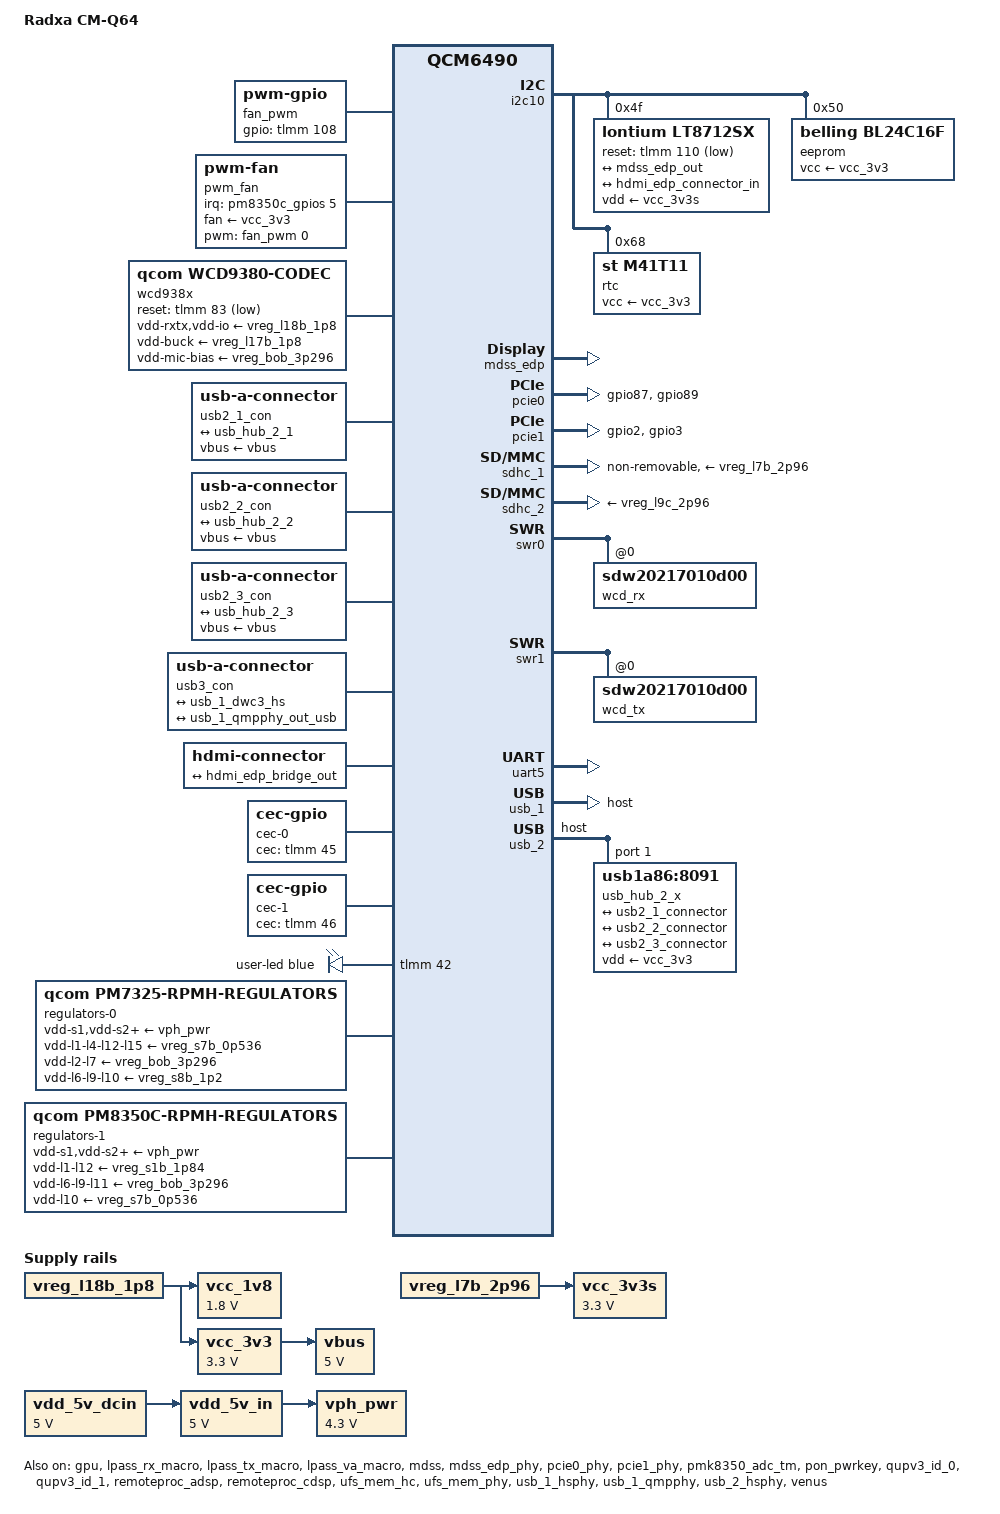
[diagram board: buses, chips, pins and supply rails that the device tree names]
// SPDX-License-Identifier: BSD-3-Clause
/*
 * Copyright (c) 2025 Radxa Computer (Shenzhen) Co., Ltd.
 */

#include <dt-bindings/iio/qcom,spmi-adc7-pmk8350.h>
#include <dt-bindings/iio/qcom,spmi-adc7-pm7325.h>
#include <dt-bindings/leds/common.h>
#include <dt-bindings/pinctrl/qcom,pmic-gpio.h>
#include <dt-bindings/pwm/pwm.h>
#include <dt-bindings/regulator/qcom,rpmh-regulator.h>
#include "kodiak.dtsi"
#include "pm7325.dtsi"
#include "pm8350c.dtsi" /* PM7350C */
#include "pmk8350.dtsi" /* PMK7325 */
#include "qcs6490-audioreach.dtsi"

/delete-node/ &adsp_mem;
/delete-node/ &adsp_rpc_remote_heap_mem;
/delete-node/ &cdsp_mem;
/delete-node/ &gpu_zap_mem;
/delete-node/ &ipa_fw_mem;
/delete-node/ &mpss_mem;
/delete-node/ &remoteproc_mpss;
/delete-node/ &remoteproc_wpss;
/delete-node/ &rmtfs_mem;
/delete-node/ &video_mem;
/delete-node/ &wifi;
/delete-node/ &wlan_ce_mem;
/delete-node/ &wlan_fw_mem;
/delete-node/ &wpss_mem;

/ {
	model = "Radxa CM-Q64";
	compatible = "radxa,cm-q64", "qcom,qcm6490";
	chassis-type = "embedded";

	aliases {
		mmc0 = &sdhc_1;
		mmc1 = &sdhc_2;
		serial0 = &uart5;
	};

	chosen {
		stdout-path = "serial0:115200n8";
	};

	fan_pwm: fan-pwm {
		compatible = "pwm-gpio";
		gpios = <&tlmm 108 GPIO_ACTIVE_HIGH>;
		pinctrl-0 = <&fan_pwm_cpu>;
		pinctrl-names = "default";
		#pwm-cells = <3>;
	};

	pwm_fan: pwm-fan {
		pinctrl-0 = <&fan_tacho>;
		pinctrl-names = "default";
		compatible = "pwm-fan";
		pwms = <&fan_pwm 0 20000 0>;
		fan-supply = <&vcc_3v3>;
		interrupt-parent = <&pm8350c_gpios>;
		interrupts = <5 IRQ_TYPE_EDGE_FALLING>;
		#cooling-cells = <2>;
		cooling-levels = <0 31 63 95 127 159 191 223 255>;
    };

	wcd938x: audio-codec {
		compatible = "qcom,wcd9380-codec";

		pinctrl-0 = <&wcd_default>;
		pinctrl-names = "default";

		reset-gpios = <&tlmm 83 GPIO_ACTIVE_LOW>;

		vdd-rxtx-supply = <&vreg_l18b_1p8>;
		vdd-io-supply = <&vreg_l18b_1p8>;
		vdd-buck-supply = <&vreg_l17b_1p8>;
		vdd-mic-bias-supply = <&vreg_bob_3p296>;

		qcom,micbias1-microvolt = <1800000>;
		qcom,micbias2-microvolt = <1800000>;
		qcom,micbias3-microvolt = <1800000>;
		qcom,micbias4-microvolt = <1800000>;
		qcom,mbhc-buttons-vthreshold-microvolt = <75000 150000 237000 500000 500000 500000 500000 500000>;
		qcom,mbhc-headset-vthreshold-microvolt = <1700000>;
		qcom,mbhc-headphone-vthreshold-microvolt = <50000>;
		qcom,rx-device = <&wcd_rx>;
		qcom,tx-device = <&wcd_tx>;

		qcom,hphl-jack-type-normally-closed;

		#sound-dai-cells = <1>;
	};

	usb2_1_con: connector-0 {
		compatible = "usb-a-connector";
		vbus-supply = <&vbus>;

		port {
			usb2_1_connector: endpoint {
				remote-endpoint = <&usb_hub_2_1>;
			};
		};
	};

	usb2_2_con: connector-1 {
		compatible = "usb-a-connector";
		vbus-supply = <&vbus>;

		port {
			usb2_2_connector: endpoint {
				remote-endpoint = <&usb_hub_2_2>;
			};
		};
	};

	usb2_3_con: connector-2 {
		compatible = "usb-a-connector";
		vbus-supply = <&vbus>;

		port {
			usb2_3_connector: endpoint {
				remote-endpoint = <&usb_hub_2_3>;
			};
		};
	};

	usb3_con: connector {
		compatible = "usb-a-connector";

		ports {
			#address-cells = <1>;
			#size-cells = <0>;

			port@0 {
				reg = <0>;

				usb3_con_hs_in: endpoint {
					remote-endpoint = <&usb_1_dwc3_hs>;
				};
			};

			port@1 {
				reg = <1>;

				usb3_con_ss_in: endpoint {
					remote-endpoint = <&usb_1_qmpphy_out_usb>;
				};
			};
		};
	};

	hdmi-edp-connector {
		compatible = "hdmi-connector";
		label = "hdmi";
		type = "a";

		port {
			hdmi_edp_connector_in: endpoint {
				remote-endpoint = <&hdmi_edp_bridge_out>;
			};
		};
	};

	/* HDMI0 CEC via GPIO_45 (HDMI0_CEC_CPU), bit-banged through TXS0108 level shifter */
	cec-0 {
		compatible = "cec-gpio";
		cec-gpios = <&tlmm 45 (GPIO_ACTIVE_HIGH|GPIO_OPEN_DRAIN)>;
		hdmi-phandle = <&lt8712sx>;
		port-name = "HDMI0";
		pinctrl-0 = <&cec0_gpio_default>;
		pinctrl-names = "default";
	};

	/* HDMI1 CEC via GPIO_46 (HDMI1_CEC_CPU), bit-banged through TXS0108 level shifter */
	cec-1 {
		compatible = "cec-gpio";
		cec-gpios = <&tlmm 46 (GPIO_ACTIVE_HIGH|GPIO_OPEN_DRAIN)>;
		hdmi-phandle = <&lt8712sx>;
		port-name = "HDMI1";
		pinctrl-0 = <&cec1_gpio_default>;
		pinctrl-names = "default";
	};

	leds {
		compatible = "gpio-leds";

		pinctrl-0 = <&user_led>;
		pinctrl-names = "default";

		user-led {
			color = <LED_COLOR_ID_BLUE>;
			function = LED_FUNCTION_STATUS;
			gpios = <&tlmm 42 GPIO_ACTIVE_HIGH>;
			linux,default-trigger = "heartbeat";
		};
	};

	reserved-memory {
		lpass_ml_mem: lpass-ml@81800000 {
			reg = <0x0 0x81800000 0x0 0xf00000>;
			no-map;
		};

		cdsp_secure_heap_mem: cdsp-secure-heap@82700000 {
			reg = <0x0 0x82700000 0x0 0x10000>;
			no-map;
		};

		video_mem: video@85b00000 {
			reg = <0x0 0x85b00000 0x0 0x700000>;
			no-map;
		};

		adsp_mem: adsp@8b800000 {
			reg = <0x0 0x8b800000 0x0 0x2800000>;
			no-map;
		};

		cdsp_mem: cdsp@8e000000 {
			reg = <0x0 0x8e000000 0x0 0x1e00000>;
			no-map;
		};

		gpu_zap_mem: zap@90300000 {
			reg = <0x0 0x90300000 0x0 0x5000>;
			no-map;
		};

		tz_stat_mem: tz-stat@c0000000 {
			reg = <0x0 0xc0000000 0x0 0x100000>;
			no-map;
		};

		tags_mem: tags@c0100000 {
			reg = <0x0 0xc0100000 0x0 0x1200000>;
			no-map;
		};

		qtee_mem: qtee@c1300000 {
			reg = <0x0 0xc1300000 0x0 0x500000>;
			no-map;
		};

		trusted_apps_mem: trusted-apps@c1800000 {
			reg = <0x0 0xc1800000 0x0 0x2200000>;
			no-map;
		};

		adsp_rpc_remote_heap_mem: adsp-rpc-remote-heap@c6500000 {
			reg = <0x0 0xc6500000 0x0 0x800000>;
			no-map;
		};

		iris_iova: iris-iova {
			iommu-addresses = <&venus 0x0 0x0 0x0 0x25800000>;
		};
	};

	thermal-zones {
		msm-skin-thermal {
			polling-delay-passive = <0>;
			thermal-sensors = <&pmk8350_adc_tm 2>;
		};

		quiet-thermal {
			polling-delay-passive = <0>;
			thermal-sensors = <&pmk8350_adc_tm 1>;
		};

		ufs-thermal {
			polling-delay-passive = <0>;
			thermal-sensors = <&pmk8350_adc_tm 3>;
		};

		xo-thermal {
			polling-delay-passive = <0>;
			thermal-sensors = <&pmk8350_adc_tm 0>;
		};
	};

	vcc_1v8: regulator-vcc-1v8 {
		compatible = "regulator-fixed";
		regulator-name = "vcc_1v8";
		regulator-min-microvolt = <1800000>;
		regulator-max-microvolt = <1800000>;
		vin-supply = <&vreg_l18b_1p8>;

		regulator-always-on;
	};

	vcc_3v3: regulator-vcc-3v3 {
		compatible = "regulator-fixed";
		regulator-name = "vcc_3v3";
		regulator-min-microvolt = <3300000>;
		regulator-max-microvolt = <3300000>;
		vin-supply = <&vreg_l18b_1p8>;

		regulator-always-on;
	};

	vcc_3v3s: regulator-vcc-3v3s {
		compatible = "regulator-fixed";
		regulator-name = "vcc_3v3s";
		regulator-min-microvolt = <3300000>;
		regulator-max-microvolt = <3300000>;
		vin-supply = <&vreg_l7b_2p96>;
	};

	vbus: regulator-vbus {
		compatible = "regulator-fixed";
		regulator-name = "vbus";
		regulator-min-microvolt = <5000000>;
		regulator-max-microvolt = <5000000>;
		vin-supply = <&vcc_3v3>;
	};

	vdd_5v_dcin: regulator-5v-dcin {
		compatible = "regulator-fixed";
		regulator-name = "vdd_5v_dcin";
		regulator-min-microvolt = <5000000>;
		regulator-max-microvolt = <5000000>;

		regulator-always-on;
	};

	vdd_5v_in: regulator-5v-in {
		compatible = "regulator-fixed";
		regulator-name = "vdd_5v_in";
		regulator-min-microvolt = <5000000>;
		regulator-max-microvolt = <5000000>;
		vin-supply = <&vdd_5v_dcin>;

		regulator-always-on;
	};

	vph_pwr: regulator-vph-pwr {
		compatible = "regulator-fixed";
		regulator-name = "vph_pwr";
		regulator-min-microvolt = <4300000>;
		regulator-max-microvolt = <4300000>;
		vin-supply = <&vdd_5v_in>;

		regulator-always-on;
	};
};

&apps_rsc {
	regulators-0 {
		compatible = "qcom,pm7325-rpmh-regulators";
		qcom,pmic-id = "b";

		vdd-s1-supply = <&vph_pwr>;
		vdd-s2-supply = <&vph_pwr>;
		vdd-s3-supply = <&vph_pwr>;
		vdd-s4-supply = <&vph_pwr>;
		vdd-s5-supply = <&vph_pwr>;
		vdd-s6-supply = <&vph_pwr>;
		vdd-s7-supply = <&vph_pwr>;
		vdd-s8-supply = <&vph_pwr>;
		vdd-l1-l4-l12-l15-supply = <&vreg_s7b_0p536>;
		vdd-l2-l7-supply = <&vreg_bob_3p296>;
		vdd-l6-l9-l10-supply = <&vreg_s8b_1p2>;
		vdd-l11-l17-l18-l19-supply = <&vreg_s1b_1p84>;

		vreg_s1b_1p84: smps1 {
			regulator-name = "vreg_s1b_1p84";
			regulator-min-microvolt = <1840000>;
			regulator-max-microvolt = <2040000>;
		};

		vreg_s7b_0p536: smps7 {
			regulator-name = "vreg_s7b_0p536";
			regulator-min-microvolt = <536000>;
			regulator-max-microvolt = <1120000>;
		};

		vreg_s8b_1p2: smps8 {
			regulator-name = "vreg_s8b_1p2";
			regulator-min-microvolt = <1200000>;
			regulator-max-microvolt = <1496000>;
			regulator-initial-mode = <RPMH_REGULATOR_MODE_RET>;
		};

		vreg_l1b_0p912: ldo1 {
			regulator-name = "vreg_l1b_0p912";
			regulator-min-microvolt = <832000>;
			regulator-max-microvolt = <920000>;
			regulator-initial-mode = <RPMH_REGULATOR_MODE_HPM>;
			regulator-allow-set-load;
			regulator-allowed-modes = <RPMH_REGULATOR_MODE_LPM
							RPMH_REGULATOR_MODE_HPM>;
		};

		vreg_l2b_3p072: ldo2 {
			regulator-name = "vreg_l2b_3p072";
			regulator-min-microvolt = <2704000>;
			regulator-max-microvolt = <3544000>;
			regulator-initial-mode = <RPMH_REGULATOR_MODE_HPM>;
			regulator-allow-set-load;
			regulator-allowed-modes = <RPMH_REGULATOR_MODE_LPM
							RPMH_REGULATOR_MODE_HPM>;
		};

		vreg_l6b_1p2: ldo6 {
			regulator-name = "vreg_l6b_1p2";
			regulator-min-microvolt = <1200000>;
			regulator-max-microvolt = <1256000>;
			regulator-initial-mode = <RPMH_REGULATOR_MODE_HPM>;
			regulator-allow-set-load;
			regulator-allowed-modes = <RPMH_REGULATOR_MODE_LPM
							RPMH_REGULATOR_MODE_HPM>;
		};

		vreg_l7b_2p96: ldo7 {
			regulator-name = "vreg_l7b_2p96";
			regulator-min-microvolt = <2960000>;
			regulator-max-microvolt = <2960000>;
			regulator-initial-mode = <RPMH_REGULATOR_MODE_HPM>;
			regulator-allow-set-load;
			regulator-allowed-modes = <RPMH_REGULATOR_MODE_LPM
							RPMH_REGULATOR_MODE_HPM>;
		};

		vreg_l9b_1p2: ldo9 {
			regulator-name = "vreg_l9b_1p2";
			regulator-min-microvolt = <1200000>;
			regulator-max-microvolt = <1304000>;
			regulator-initial-mode = <RPMH_REGULATOR_MODE_HPM>;
			regulator-allow-set-load;
			regulator-allowed-modes = <RPMH_REGULATOR_MODE_LPM
						   RPMH_REGULATOR_MODE_HPM>;
		};

		vreg_l17b_1p8: ldo17 {
			regulator-name = "vreg_l17b_1p8";
			regulator-min-microvolt = <1800000>;
			regulator-max-microvolt = <1896000>;
			regulator-initial-mode = <RPMH_REGULATOR_MODE_HPM>;
		};

		vreg_l18b_1p8: ldo18 {
			regulator-name = "vreg_l18b_1p8";
			regulator-min-microvolt = <1800000>;
			regulator-max-microvolt = <2000000>;
			regulator-initial-mode = <RPMH_REGULATOR_MODE_HPM>;
			regulator-always-on;
		};

		vreg_l19b_1p8: ldo19 {
			regulator-name = "vreg_l19b_1p8";
			regulator-min-microvolt = <1800000>;
			regulator-max-microvolt = <2000000>;
			regulator-initial-mode = <RPMH_REGULATOR_MODE_HPM>;
			regulator-allow-set-load;
			regulator-allowed-modes = <RPMH_REGULATOR_MODE_LPM
						   RPMH_REGULATOR_MODE_HPM>;
		};
	};

	regulators-1 {
		compatible = "qcom,pm8350c-rpmh-regulators";
		qcom,pmic-id = "c";

		vdd-s1-supply = <&vph_pwr>;
		vdd-s2-supply = <&vph_pwr>;
		vdd-s3-supply = <&vph_pwr>;
		vdd-s4-supply = <&vph_pwr>;
		vdd-s5-supply = <&vph_pwr>;
		vdd-s6-supply = <&vph_pwr>;
		vdd-s7-supply = <&vph_pwr>;
		vdd-s8-supply = <&vph_pwr>;
		vdd-s9-supply = <&vph_pwr>;
		vdd-s10-supply = <&vph_pwr>;
		vdd-l1-l12-supply = <&vreg_s1b_1p84>;
		vdd-l6-l9-l11-supply = <&vreg_bob_3p296>;
		vdd-l10-supply = <&vreg_s7b_0p536>;
		vdd-bob-supply = <&vph_pwr>;

		vreg_l1c_1p8: ldo1 {
			regulator-name = "vreg_l1c_1p8";
			regulator-min-microvolt = <1800000>;
			regulator-max-microvolt = <1976000>;
			regulator-initial-mode = <RPMH_REGULATOR_MODE_HPM>;
			regulator-allow-set-load;
			regulator-allowed-modes = <RPMH_REGULATOR_MODE_LPM
						   RPMH_REGULATOR_MODE_HPM>;
		};

		vreg_l5c_1p62: ldo5 {
			regulator-name = "vreg_l5c_1p62";
			regulator-min-microvolt = <1620000>;
			regulator-max-microvolt = <3300000>;
			regulator-initial-mode = <RPMH_REGULATOR_MODE_HPM>;
			regulator-allow-set-load;
			regulator-allowed-modes = <RPMH_REGULATOR_MODE_LPM
						   RPMH_REGULATOR_MODE_HPM>;

			regulator-always-on;
		};

		vreg_l6c_2p96: ldo6 {
			regulator-name = "vreg_l6c_2p96";
			regulator-min-microvolt = <1650000>;
			regulator-max-microvolt = <3544000>;
			regulator-initial-mode = <RPMH_REGULATOR_MODE_HPM>;
			regulator-allow-set-load;
			regulator-allowed-modes = <RPMH_REGULATOR_MODE_LPM
						   RPMH_REGULATOR_MODE_HPM>;
		};

		vreg_l9c_2p96: ldo9 {
			regulator-name = "vreg_l9c_2p96";
			regulator-min-microvolt = <2704000>;
			regulator-max-microvolt = <3544000>;
			regulator-initial-mode = <RPMH_REGULATOR_MODE_HPM>;
			regulator-allow-set-load;
			regulator-allowed-modes = <RPMH_REGULATOR_MODE_LPM
						   RPMH_REGULATOR_MODE_HPM>;
		};

		vreg_l10c_0p88: ldo10 {
			regulator-name = "vreg_l10c_0p88";
			regulator-min-microvolt = <720000>;
			regulator-max-microvolt = <1048000>;
			regulator-initial-mode = <RPMH_REGULATOR_MODE_HPM>;
			regulator-allow-set-load;
			regulator-allowed-modes = <RPMH_REGULATOR_MODE_LPM
						   RPMH_REGULATOR_MODE_HPM>;
		};

		vreg_bob_3p296: bob {
			regulator-name = "vreg_bob_3p296";
			regulator-min-microvolt = <3032000>;
			regulator-max-microvolt = <3960000>;
		};
	};
};

&gcc {
	protected-clocks = <GCC_CFG_NOC_LPASS_CLK>,
			   <GCC_MSS_CFG_AHB_CLK>,
			   <GCC_MSS_GPLL0_MAIN_DIV_CLK_SRC>,
			   <GCC_MSS_OFFLINE_AXI_CLK>,
			   <GCC_MSS_Q6SS_BOOT_CLK_SRC>,
			   <GCC_MSS_Q6_MEMNOC_AXI_CLK>,
			   <GCC_MSS_SNOC_AXI_CLK>,
			   <GCC_QSPI_CNOC_PERIPH_AHB_CLK>,
			   <GCC_QSPI_CORE_CLK>,
			   <GCC_QSPI_CORE_CLK_SRC>,
			   <GCC_SEC_CTRL_CLK_SRC>,
			   <GCC_WPSS_AHB_BDG_MST_CLK>,
			   <GCC_WPSS_AHB_CLK>,
			   <GCC_WPSS_RSCP_CLK>;
};

&gpi_dma0 {
	status = "okay";
};

&gpi_dma1 {
	status = "okay";
};

&gpu {
	status = "okay";
};

&gpu_zap_shader {
	firmware-name = "qcom/qcs6490/a660_zap.mbn";
};

&i2c10 {
	qcom,enable-gsi-dma;
	status = "okay";

	lt8712sx: hdmi-edp-bridge@4f {
		compatible = "lontium,lt8712sx";
		reg = <0x4f>;
		cec-port-names = "HDMI0", "HDMI1";
		vdd-supply = <&vcc_3v3s>;
		reset-gpios = <&tlmm 110 GPIO_ACTIVE_LOW>;
		pinctrl-0 = <&lt8712sx_reset_default>;
		pinctrl-names = "default";

		ports {
			#address-cells = <1>;
			#size-cells = <0>;

			port@0 {
				reg = <0>;

				hdmi_edp_bridge_in: endpoint {
					remote-endpoint = <&mdss_edp_out>;
				};
			};

			port@1 {
				reg = <1>;

				hdmi_edp_bridge_out: endpoint {
					remote-endpoint = <&hdmi_edp_connector_in>;
				};
			};
		};
	};

	eeprom: eeprom@50 {
		compatible = "belling,bl24c16f", "atmel,24c16";
		reg = <0x50>;
		pagesize = <16>;
		vcc-supply = <&vcc_3v3>;
	};

	rtc: rtc@68 {
		compatible = "st,m41t11";
		reg = <0x68>;
		vcc-supply = <&vcc_3v3>;
	};
};

&lpass_audiocc {
	compatible = "qcom,qcm6490-lpassaudiocc";
	/delete-property/ power-domains;
};

&lpass_rx_macro {
	status = "okay";
};

&lpass_tx_macro {
	status = "okay";
};

&lpass_va_macro {
	status = "okay";
};

&mdss {
	status = "okay";
};

&mdss_dp {
	sound-name-prefix = "Display Port0";

	status = "disabled";
};

&mdss_dp_out {
	data-lanes = <0 1>;
	remote-endpoint = <&usb_dp_qmpphy_dp_in>;
};

&mdss_edp {
	status = "okay";
};

&mdss_edp_out {
	data-lanes = <0 1 2 3>;
	link-frequencies = /bits/ 64 <1620000000 2700000000 5400000000 8100000000>;

	remote-endpoint = <&hdmi_edp_bridge_in>;
};

&mdss_edp_phy {
	status = "okay";
	vdda-pll-supply = <&vreg_l10c_0p88>;
	vdda-phy-supply = <&vreg_l6b_1p2>;
};

&pcie0 {
	vddpe-3v3-supply = <&vcc_3v3>;
	vdda-supply = <&vreg_l6b_1p2>;

	perst-gpios = <&tlmm 87 GPIO_ACTIVE_LOW>;
	wake-gpios = <&tlmm 89 GPIO_ACTIVE_HIGH>;

	pinctrl-0 = <&pcie0_clkreq_n>, <&pcie0_reset_n>, <&pcie0_wake_n>;
	pinctrl-names = "default";

	status = "okay";
};

&pcie0_phy {
	vdda-phy-supply = <&vreg_l10c_0p88>;
	vdda-pll-supply = <&vreg_l6b_1p2>;

	status = "okay";
};

&pcie1 {
	perst-gpios = <&tlmm 2 GPIO_ACTIVE_LOW>;
	wake-gpios = <&tlmm 3 GPIO_ACTIVE_HIGH>;

	pinctrl-0 = <&pcie1_clkreq_n>, <&pcie1_reset_n>, <&pcie1_wake_n>;
	pinctrl-names = "default";

	/*
	* Support for many different bus topologies
	* Tested devices:
	* - QPS615 PCIe switch
	* - ASM1182e PCIe switch
	* - ASM2824 PCIe switch
	* - NVIDIA dGPU
	* - Chelsio T520-CR
	*/
	iommu-map = <0x0 &apps_smmu 0x1c80 0x1>,
			<0x100 &apps_smmu 0x1c80 0x1>,
			<0x101 &apps_smmu 0x1c80 0x1>,
			<0x102 &apps_smmu 0x1c80 0x1>,
			<0x103 &apps_smmu 0x1c80 0x1>,
			<0x104 &apps_smmu 0x1c80 0x1>,
			<0x105 &apps_smmu 0x1c80 0x1>,
			<0x106 &apps_smmu 0x1c80 0x1>,
			<0x200 &apps_smmu 0x1c80 0x1>,
			<0x208 &apps_smmu 0x1c80 0x1>,
			<0x210 &apps_smmu 0x1c80 0x1>,
			<0x218 &apps_smmu 0x1c80 0x1>,
			<0x220 &apps_smmu 0x1c80 0x1>,
			<0x238 &apps_smmu 0x1c80 0x1>,
			<0x240 &apps_smmu 0x1c80 0x1>,
			<0x260 &apps_smmu 0x1c80 0x1>,
			<0x300 &apps_smmu 0x1c80 0x1>,
			<0x400 &apps_smmu 0x1c80 0x1>,
			<0x500 &apps_smmu 0x1c80 0x1>,
			<0x501 &apps_smmu 0x1c80 0x1>,
			<0x600 &apps_smmu 0x1c80 0x1>;

	status = "okay";
};

&pcie1_phy {
	vdda-phy-supply = <&vreg_l10c_0p88>;
	vdda-pll-supply = <&vreg_l6b_1p2>;

	status = "okay";
};

&pm7325_gpios {
	pinctrl-0 = <&hardware_version_sel>;
	pinctrl-names = "default";
	gpio-line-names = "",			/* GPIO_01 */
			  "UFS_THERM",
			  "Version_ADC",
			  "",
			  "",
			  "KYPD_VOL_UP_N",
			  "Version_SEL",
			  "",
			  "MICRO USB DET",
			  "";

	hardware_version_sel: hardware-version-sel-state {
		pins = "gpio7";
		function = PMIC_GPIO_FUNC_NORMAL;
		bias-high-impedance;
		power-source = <1>;
	};
};

&pm7325_temp_alarm {
	io-channels = <&pmk8350_vadc PM7325_ADC7_DIE_TEMP>;
	io-channel-names = "thermal";
};

&pm8350c_gpios {
	gpio-line-names = "",		/* 1 */
			  "",
			  "",
			  "",
			  "FAN_TACHO_IN",
			  "",
			  "LCD_BLEN",
			  "LCD_BLPWM",
			  "";

	fan_tacho: fan-tacho-state {
		pins = "gpio5";
		function = PMIC_GPIO_FUNC_NORMAL;
		bias-disable;
		power-source = <1>;
	};

	lcd_bl_en: lcd-bl-en-state {
		pins = "gpio7";
		function = PMIC_GPIO_FUNC_NORMAL;
		bias-disable;
		qcom,drive-strength = <PMIC_GPIO_STRENGTH_LOW>;
		output-low;
		power-source = <1>;
	};
};

&pmk8350_adc_tm {
	status = "okay";

	xo-therm@0 {
		reg = <0>;
		io-channels = <&pmk8350_vadc PMK8350_ADC7_AMUX_THM1_100K_PU>;
		qcom,ratiometric;
		qcom,hw-settle-time-us = <200>;
	};

	quiet-therm@1 {
		reg = <1>;
		io-channels = <&pmk8350_vadc PM7325_ADC7_AMUX_THM1_100K_PU>;
		qcom,ratiometric;
		qcom,hw-settle-time-us = <200>;
	};

	msm-skin-therm@2 {
		reg = <2>;
		io-channels = <&pmk8350_vadc PM7325_ADC7_AMUX_THM3_100K_PU>;
		qcom,ratiometric;
		qcom,hw-settle-time-us = <200>;
	};

	ufs-therm@3 {
		reg = <3>;
		io-channels = <&pmk8350_vadc PM7325_ADC7_GPIO1_100K_PU>;
		qcom,ratiometric;
		qcom,hw-settle-time-us = <200>;
	};
};

&pmk8350_vadc {
	channel@3 {
		reg = <PMK8350_ADC7_DIE_TEMP>;
		label = "pmk7325_die_temp";
		qcom,pre-scaling = <1 1>;
	};

	channel@44 {
		reg = <PMK8350_ADC7_AMUX_THM1_100K_PU>;
		label = "xo_therm";
		qcom,hw-settle-time = <200>;
		qcom,pre-scaling = <1 1>;
		qcom,ratiometric;
	};

	channel@103 {
		reg = <PM7325_ADC7_DIE_TEMP>;
		label = "pm7325_die_temp";
		qcom,pre-scaling = <1 1>;
	};

	channel@10b {
		reg = <PM7325_ADC7_GPIO2>;
		qcom,hw-settle-time = <200>;
		qcom,pre-scaling = <1 1>;
		label = "hardware_version_adc";
	};

	channel@144 {
		reg = <PM7325_ADC7_AMUX_THM1_100K_PU>;
		qcom,ratiometric;
		qcom,hw-settle-time = <200>;
		qcom,pre-scaling = <1 1>;
		label = "quiet_therm";
	};

	channel@146 {
		reg = <PM7325_ADC7_AMUX_THM3_100K_PU>;
		qcom,ratiometric;
		qcom,hw-settle-time = <200>;
		qcom,pre-scaling = <1 1>;
		label = "msm_skin_therm";
	};

	channel@14a {
		/* According to datasheet, 0x4a = AMUX1_GPIO = GPIO_02 */
		reg = <PM7325_ADC7_GPIO1_100K_PU>;
		qcom,ratiometric;
		qcom,hw-settle-time = <200>;
		qcom,pre-scaling = <1 1>;
		label = "ufs_therm";
	};
};

&pon_pwrkey {
	status = "okay";
};

&qupv3_id_0 {
	firmware-name = "qcom/qcm6490/qupv3fw.elf";
	status = "okay";
};

&qupv3_id_1 {
	firmware-name = "qcom/qcm6490/qupv3fw.elf";
	status = "okay";
};

&remoteproc_adsp {
	firmware-name = "qcom/qcs6490/radxa/cm-q64/adsp.mbn";
	status = "okay";
};

&remoteproc_cdsp {
	firmware-name = "qcom/qcs6490/radxa/cm-q64/cdsp.mbn";
	status = "okay";
};

&sdhc_1 {
	non-removable;
	no-sd;
	no-sdio;

	vmmc-supply = <&vreg_l7b_2p96>;
	vqmmc-supply = <&vreg_l19b_1p8>;

	status = "okay";
};

&sdhc_2 {
	pinctrl-0 = <&sdc2_clk>, <&sdc2_cmd>, <&sdc2_data>;
	pinctrl-1 = <&sdc2_clk_sleep>, <&sdc2_cmd_sleep>, <&sdc2_data_sleep>;

	vmmc-supply = <&vreg_l9c_2p96>;
	vqmmc-supply = <&vreg_l6c_2p96>;
	broken-cd;

	status = "okay";
};

&sound {
	#address-cells = <1>;
	#size-cells = <0>;
	compatible = "qcom,qcs6490-rb3gen2-sndcard";
	model = "QCS6490-Radxa-CM-Q64";

	audio-routing = "IN1_HPHL", "HPHL_OUT",
			"IN2_HPHR", "HPHR_OUT",
			"AMIC2", "MIC BIAS2",
			"TX SWR_ADC1", "ADC2_OUTPUT";

	wcd-playback-dai-link {
		link-name = "WCD Playback";

		codec {
			sound-dai = <&wcd938x 0>, <&swr0 0>, <&lpass_rx_macro 0>;
		};

		cpu {
			sound-dai = <&q6apmbedai RX_CODEC_DMA_RX_0>;
		};

		platform {
			sound-dai = <&q6apm>;
		};
	};

	wcd-capture-dai-link {
		link-name = "WCD Capture";

		codec {
			sound-dai = <&wcd938x 1>, <&swr1 0>, <&lpass_tx_macro 0>;
		};

		cpu {
			sound-dai = <&q6apmbedai TX_CODEC_DMA_TX_3>;
		};

		platform {
			sound-dai = <&q6apm>;
		};
	};
};

&swr0 {
	status = "okay";

	wcd_rx: codec@0,4 {
		compatible = "sdw20217010d00";
		reg = <0 4>;
		qcom,rx-port-mapping = <1 2 3 4 5>;
	};
};

&swr1 {
	status = "okay";

	wcd_tx: codec@0,3 {
		compatible = "sdw20217010d00";
		reg = <0 3>;
		qcom,tx-port-mapping = <1 1 2 3>;
	};
};

&thermal_zones {
	cpuss0-thermal {
		polling-delay-passive = <100>;

		trips {
			cpuss0_alert1: trip-point1 {
				temperature = <65000>;
				hysteresis = <10000>;
				type = "passive";
			};

			cpuss0_alert2: trip-point2 {
				temperature = <80000>;
				hysteresis = <5000>;
				type = "passive";
			};
		};

		cooling-maps {
			map0 {
				trip = <&cpuss0_alert1>;
				cooling-device = <&pwm_fan THERMAL_NO_LIMIT THERMAL_NO_LIMIT>,
						 <&idle_cooling0 0 0>,
						 <&idle_cooling1 0 0>,
						 <&idle_cooling2 0 0>,
						 <&idle_cooling3 0 0>;
			};

			map1 {
				trip = <&cpuss0_alert2>;
				cooling-device = <&idle_cooling0 60 90>,
						 <&idle_cooling1 60 90>,
						 <&idle_cooling2 60 90>,
						 <&idle_cooling3 60 90>;
			};
		};
	};

	cpuss1-thermal {
		polling-delay-passive = <100>;

		trips {
			cpuss1_alert1: trip-point1 {
				temperature = <65000>;
				hysteresis = <10000>;
				type = "passive";
			};

			cpuss1_alert2: trip-point2 {
				temperature = <80000>;
				hysteresis = <5000>;
				type = "passive";
			};
		};
		cooling-maps {
			map0 {
				trip = <&cpuss1_alert1>;
				cooling-device = <&pwm_fan THERMAL_NO_LIMIT THERMAL_NO_LIMIT>,
						 <&idle_cooling4 0 0>,
						 <&idle_cooling5 0 0>,
						 <&idle_cooling6 0 0>,
						 <&idle_cooling7 0 0>;
			};

			map1 {
				trip = <&cpuss1_alert2>;
				cooling-device = <&idle_cooling4 40 90>,
						 <&idle_cooling5 60 90>,
						 <&idle_cooling6 60 90>,
						 <&idle_cooling7 60 90>;
			};
		};
	};

	gpuss0-thermal {
		cooling-maps {
			map0 {
				trip = <&gpuss0_alert0>;
				cooling-device = <&gpu THERMAL_NO_LIMIT THERMAL_NO_LIMIT>;
			};
		};
	};

	gpuss1-thermal {
		cooling-maps {
			map0 {
				trip = <&gpuss1_alert0>;
				cooling-device = <&gpu THERMAL_NO_LIMIT THERMAL_NO_LIMIT>;
			};
		};
	};
};

&gpuss0_alert0 {
	temperature = <75000>;
	hysteresis = <5000>;
};

&gpuss1_alert0 {
	temperature = <75000>;
	hysteresis = <5000>;
};

&cpu0_alert0 {
	temperature = <75000>;
	hysteresis = <5000>;
};

&cpu1_alert0 {
	temperature = <75000>;
	hysteresis = <5000>;
};

&cpu2_alert0 {
	temperature = <75000>;
	hysteresis = <5000>;
};

&cpu3_alert0 {
	temperature = <75000>;
	hysteresis = <5000>;
};

&cpu4_alert0 {
	temperature = <75000>;
	hysteresis = <5000>;
};

&cpu5_alert0 {
	temperature = <75000>;
	hysteresis = <5000>;
};

&cpu6_alert0 {
	temperature = <75000>;
	hysteresis = <5000>;
};

&cpu7_alert0 {
	temperature = <75000>;
	hysteresis = <5000>;
};

&cpu0 {
	idle_cooling0: thermal-idle {
		#cooling-cells = <2>;
		duration-us = <20000>;
		exit-latency-us = <1500>;
	};
};

&cpu1 {
	idle_cooling1: thermal-idle {
		#cooling-cells = <2>;
		duration-us = <20000>;
		exit-latency-us = <1500>;
	};
};

&cpu2 {
	idle_cooling2: thermal-idle {
		#cooling-cells = <2>;
		duration-us = <20000>;
		exit-latency-us = <1500>;
	};
};

&cpu3 {
	idle_cooling3: thermal-idle {
		#cooling-cells = <2>;
		duration-us = <20000>;
		exit-latency-us = <1500>;
	};
};

&cpu4 {
	idle_cooling4: thermal-idle {
		#cooling-cells = <2>;
		duration-us = <20000>;
		exit-latency-us = <1500>;
	};
};

&cpu5 {
	idle_cooling5: thermal-idle {
		#cooling-cells = <2>;
		duration-us = <20000>;
		exit-latency-us = <1500>;
	};
};

&cpu6 {
	idle_cooling6: thermal-idle {
		#cooling-cells = <2>;
		duration-us = <20000>;
		exit-latency-us = <1500>;
	};
};

&cpu7 {
	idle_cooling7: thermal-idle {
		#cooling-cells = <2>;
		duration-us = <20000>;
		exit-latency-us = <1500>;
	};
};

&tlmm {
	fan_pwm_cpu: fan-ctr-pwm-state {
		pins = "gpio108";
		function = "gpio";
		drive-strength = <2>;
		bias-disable;
	};

	lt8712sx_reset_default: lt8712sx-reset-default-state {
		pins = "gpio110";
		function = "gpio";
		drive-strength = <2>;
		bias-disable;
	};

	cec0_gpio_default: cec0-gpio-default-state {
		pins = "gpio45";
		function = "gpio";
		drive-strength = <16>;
		bias-disable;
	};

	cec1_gpio_default: cec1-gpio-default-state {
		pins = "gpio46";
		function = "gpio";
		drive-strength = <16>;
		bias-disable;
	};

	pcie0_reset_n: pcie0-reset-n-state {
		pins = "gpio87";
		function = "gpio";
		drive-strength = <2>;
		bias-disable;
	};

	pcie0_wake_n: pcie0-wake-n-state {
		pins = "gpio89";
		function = "gpio";
		drive-strength = <2>;
		bias-pull-up;
	};

	pcie1_reset_n: pcie1-reset-n-state {
		pins = "gpio2";
		function = "gpio";
		drive-strength = <2>;
		bias-disable;
	};

	pcie1_wake_n: pcie1-wake-n-state {
		pins = "gpio3";
		function = "gpio";
		drive-strength = <2>;
		bias-pull-up;
	};

	ufs_cd: ufs-cd-state {
		pins = "gpio7";
		function = "gpio";
		drive-strength = <2>;
		bias-pull-up;
	};

	user_led: user-led-state {
		pins = "gpio42";
		function = "gpio";
		bias-pull-up;
	};

	wcd_default: wcd-reset-n-active-state {
		pins = "gpio83";
		function = "gpio";
		drive-strength = <16>;
		bias-disable;
		output-low;
	};
};

&uart5 {
	status = "okay";
};

&ufs_mem_hc {
	cd-gpios = <&tlmm 7 GPIO_ACTIVE_LOW>;
	reset-gpios = <&tlmm 175 GPIO_ACTIVE_LOW>;
	vcc-supply = <&vreg_l7b_2p96>;
	vcc-max-microamp = <800000>;
	vccq-supply = <&vreg_l9b_1p2>;
	vccq-max-microamp = <900000>;
	vccq2-supply = <&vreg_l9b_1p2>;
	vccq2-max-microamp = <1300000>;

	pinctrl-0 = <&ufs_cd>;
	pinctrl-names = "default";

	/* Gear-4 Rate-B is unstable due to board */
	/* and UFS module design limitations */
	limit-gear-rate = "rate-a";

	status = "okay";
};

&ufs_mem_phy {
	vdda-phy-supply = <&vreg_l10c_0p88>;
	vdda-pll-supply = <&vreg_l6b_1p2>;

	status = "okay";
};

&usb_1 {
	dr_mode = "host";

	status = "okay";
};

&usb_1_dwc3_hs {
	remote-endpoint = <&usb3_con_hs_in>;
};

&usb_1_hsphy {
	vdda-pll-supply = <&vreg_l10c_0p88>;
	vdda33-supply = <&vreg_l2b_3p072>;
	vdda18-supply = <&vreg_l1c_1p8>;

	status = "okay";
};

&usb_1_qmpphy {
	vdda-phy-supply = <&vreg_l6b_1p2>;
	vdda-pll-supply = <&vreg_l1b_0p912>;

	/delete-property/ orientation-switch;

	status = "okay";

	ports {
		port@0 {
			#address-cells = <1>;
			#size-cells = <0>;

			/delete-node/ endpoint;

			/* RX0/TX0 is statically connected to RA620 bridge */
			usb_1_qmpphy_out_dp: endpoint@0 {
				reg = <0>;

				data-lanes = <0 1>;
			};

			/* RX1/TX1 is statically connected to USB-A port */
			usb_1_qmpphy_out_usb: endpoint@1 {
				reg = <1>;

				data-lanes = <2 3>;
				remote-endpoint = <&usb3_con_ss_in>;
			};
		};
	};
};

&usb_2 {
	dr_mode = "host";

	#address-cells = <1>;
	#size-cells = <0>;

	status = "okay";

	/* Onboard USB 2.0 hub */
	usb_hub_2_x: hub@1 {
		compatible = "usb1a86:8091";
		reg = <1>;
		vdd-supply = <&vcc_3v3>;
		#address-cells = <1>;
		#size-cells = <0>;

		ports {
			#address-cells = <1>;
			#size-cells = <0>;

			port@1 {
				reg = <1>;

				usb_hub_2_1: endpoint {
					remote-endpoint = <&usb2_1_connector>;
				};
			};

			port@2 {
				reg = <2>;

				usb_hub_2_2: endpoint {
					remote-endpoint = <&usb2_2_connector>;
				};
			};

			port@3 {
				reg = <3>;

				usb_hub_2_3: endpoint {
					remote-endpoint = <&usb2_3_connector>;
				};
			};
		};

		/* FCU760K Wi-Fi & Bluetooth module */
		wifi@4 {
			compatible = "usba69c,8d80";
			reg = <4>;
		};
	};
};

&usb_2_hsphy {
	vdda-pll-supply = <&vreg_l10c_0p88>;
	vdda33-supply = <&vreg_l2b_3p072>;
	vdda18-supply = <&vreg_l1c_1p8>;

	status = "okay";
};

&venus {
	firmware-name = "qcom/vpu/vpu20_p1_gen2_s6.mbn";
	memory-region = <&video_mem>, <&iris_iova>;

	status = "okay";
};

/* PINCTRL - additions to nodes defined in sc7280.dtsi */
&dp_hot_plug_det {
	bias-disable;
};

/* PINCTRL - additions to nodes defined in sc7280.dtsi */
&edp_hot_plug_det {
	bias-disable;
};

&pcie0_clkreq_n {
	bias-pull-up;
	drive-strength = <2>;
};

&pcie1_clkreq_n {
	bias-pull-up;
	drive-strength = <2>;
};

/* For uart_dbg */
&qup_uart5_rx {
	bias-disable;
	input-enable;
	drive-strength = <2>;
};

/* For uart_dbg */
&qup_uart5_tx {
	bias-disable;
	output-high;
	drive-strength = <16>;
};

&sdc1_clk {
	bias-disable;
	drive-strength = <16>;
};

&sdc1_cmd {
	bias-pull-up;
	drive-strength = <10>;
};

&sdc1_data {
	bias-pull-up;
	drive-strength = <10>;
};

&sdc1_rclk {
	bias-pull-down;
};

&sdc2_clk {
	bias-disable;
	drive-strength = <16>;
};

&sdc2_cmd {
	bias-pull-up;
	drive-strength = <10>;
};

&sdc2_data {
	bias-pull-up;
	drive-strength = <10>;
};
